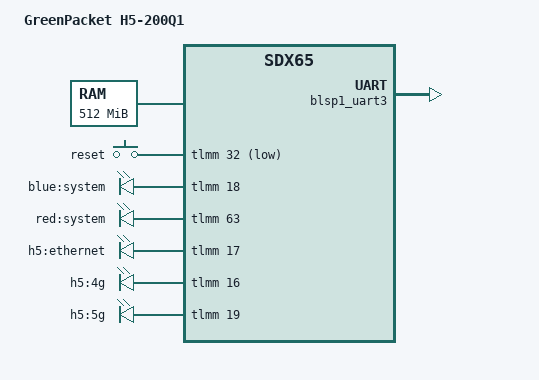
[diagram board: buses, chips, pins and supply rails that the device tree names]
// SPDX-License-Identifier: BSD-3-Clause
/dts-v1/;

#include "qcom-sdx65.dtsi"
#include <arm64/qcom/pmk8350.dtsi>
#include "pmx65.dtsi"
#include <dt-bindings/gpio/gpio.h>
#include <dt-bindings/input/input.h>

/ {
	model = "GreenPacket H5-200Q1";
	compatible = "greenpacket,h5-200q1", "qcom,sdx65";
	qcom,msm-id = <458 0x20000>, <483 0x20000>, <509 0x20000>;
	qcom,board-id = <0x4010008 0x204>;

	/* ABL normally fills this in; direct RAM boot must be self-contained. */
	memory {
		reg = <0x80000000 0x20000000>;
	};

	aliases {
		serial0 = &blsp1_uart3;
		led-boot = &led_system_blue;
		led-failsafe = &led_system_red;
		led-running = &led_system_blue;
		led-upgrade = &led_system_red;
	};

	chosen {
		stdout-path = "serial0:115200n8";
	};

	keys {
		compatible = "gpio-keys-polled";
		poll-interval = <20>;
		pinctrl-names = "default";
		pinctrl-0 = <&reset_button_default>;

		/* Stock turin_reset: TLMM GPIO32, active low, pulled high. */
		reset {
			label = "reset";
			linux,code = <KEY_RESTART>;
			gpios = <&tlmm 32 GPIO_ACTIVE_LOW>;
		};
	};

	leds {
		compatible = "gpio-leds";
		pinctrl-names = "default";
		pinctrl-0 = <&system_led_default>;

		/* GPIO18 is physically blue on this H5 (stock calls it green). */
		led_system_blue: led-system {
			label = "blue:system";
			gpios = <&tlmm 18 GPIO_ACTIVE_HIGH>;
			linux,default-trigger = "heartbeat";
			default-state = "on";
		};

		led_system_red: led-system-red {
			label = "red:system";
			gpios = <&tlmm 63 GPIO_ACTIVE_HIGH>;
			default-state = "off";
		};

		led-ethernet {
			label = "h5:ethernet";
			gpios = <&tlmm 17 GPIO_ACTIVE_HIGH>;
			default-state = "off";
		};

		led-4g {
			label = "h5:4g";
			gpios = <&tlmm 16 GPIO_ACTIVE_HIGH>;
			default-state = "off";
		};

		led-5g {
			label = "h5:5g";
			gpios = <&tlmm 19 GPIO_ACTIVE_HIGH>;
			default-state = "off";
		};
	};

	reserved-memory {
		/* Preserve the carveouts captured from the stock H5 DT. */
		audio_mem: memory@8c000000 {
			reg = <0x8c000000 0x400000>;
			no-map;
		};

		mpss_dsm: memory@8c400000 {
			reg = <0x8c400000 0x3200000>;
			no-map;
		};

		ipa_fw_mem: memory@8fced000 {
			reg = <0x8fced000 0x10000>;
			no-map;
		};

		mpss_adsp_mem: memory@90800000 {
			reg = <0x90800000 0xf800000>;
			no-map;
		};
	};
};

&access_control_mem {
	reg = <0x8fd80000 0x40000>;
};

&apps_smmu {
	status = "disabled";
};

&blsp1_uart3 {
	status = "okay";
};

&tlmm {
	reset_button_default: reset-button-default-state {
		pins = "gpio32";
		function = "gpio";
		drive-strength = <2>;
		bias-pull-up;
	};

	system_led_default: system-led-default-state {
		pins = "gpio16", "gpio17", "gpio18", "gpio19", "gpio63";
		function = "gpio";
		drive-strength = <2>;
		bias-disable;
	};
};

/* This initial RAM bring-up description does not enable flash or the modem. */
&ipa {
	status = "disabled";
};

&pcie_ep {
	status = "disabled";
};

&qpic_bam {
	status = "disabled";
};

&qpic_nand {
	status = "disabled";
};

&remoteproc_mpss {
	status = "disabled";
};
